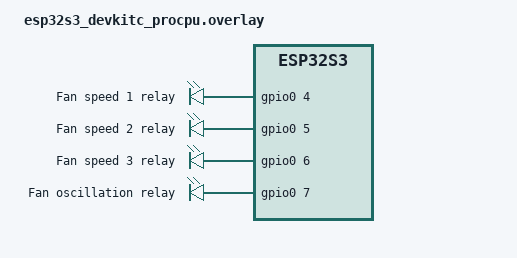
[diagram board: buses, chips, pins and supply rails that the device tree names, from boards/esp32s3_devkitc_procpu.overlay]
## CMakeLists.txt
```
# SPDX-License-Identifier: Apache-2.0

cmake_minimum_required(VERSION 3.20.0)

find_package(Zephyr REQUIRED HINTS $ENV{ZEPHYR_BASE})
project(bt_practice)

target_sources(app PRIVATE src/main.c)
```

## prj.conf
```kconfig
# Bluetooth LE peripheral
CONFIG_BT=y
CONFIG_BT_PERIPHERAL=y
CONFIG_BT_DEVICE_NAME="BT_Practice"

# Console and logs
CONFIG_CONSOLE=y
CONFIG_SERIAL=y
CONFIG_LOG=y

# Active-high relay GPIO outputs
CONFIG_GPIO=y
```

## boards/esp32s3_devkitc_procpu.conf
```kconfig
CONFIG_SPIRAM_MODE_OCT=y
CONFIG_ESPTOOLPY_OCT_FLASH=n
```

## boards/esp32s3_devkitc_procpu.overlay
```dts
#include <zephyr/dt-bindings/gpio/gpio.h>

/ {
	aliases {
		fan-speed-1-relay = &fan_speed_1_relay;
		fan-speed-2-relay = &fan_speed_2_relay;
		fan-speed-3-relay = &fan_speed_3_relay;
		fan-osc-relay = &fan_osc_relay;
	};

	relays {
		compatible = "gpio-leds";

		fan_speed_1_relay: fan_speed_1_relay {
			gpios = <&gpio0 4 GPIO_ACTIVE_HIGH>;
			label = "Fan speed 1 relay";
		};

		fan_speed_2_relay: fan_speed_2_relay {
			gpios = <&gpio0 5 GPIO_ACTIVE_HIGH>;
			label = "Fan speed 2 relay";
		};

		fan_speed_3_relay: fan_speed_3_relay {
			gpios = <&gpio0 6 GPIO_ACTIVE_HIGH>;
			label = "Fan speed 3 relay";
		};

		fan_osc_relay: fan_osc_relay {
			gpios = <&gpio0 7 GPIO_ACTIVE_HIGH>;
			label = "Fan oscillation relay";
		};
	};
};
```

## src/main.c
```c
/*
 * SPDX-License-Identifier: Apache-2.0
 */

#include <errno.h>
#include <stdbool.h>
#include <string.h>

#include <zephyr/bluetooth/bluetooth.h>
#include <zephyr/bluetooth/conn.h>
#include <zephyr/bluetooth/gatt.h>
#include <zephyr/device.h>
#include <zephyr/drivers/gpio.h>
#include <zephyr/kernel.h>
#include <zephyr/logging/log.h>

LOG_MODULE_REGISTER(bt_practice, LOG_LEVEL_INF);

#define SPEED_1_RELAY_NODE DT_ALIAS(fan_speed_1_relay)
#define SPEED_2_RELAY_NODE DT_ALIAS(fan_speed_2_relay)
#define SPEED_3_RELAY_NODE DT_ALIAS(fan_speed_3_relay)
#define OSC_RELAY_NODE     DT_ALIAS(fan_osc_relay)

#define FAN_SPEED_OFF 0U
#define FAN_SPEED_MAX 3U
#define RELAY_BREAK_TIME K_MSEC(100)

#define FAN_COMMAND_SET_SPEED 0x01U
#define FAN_COMMAND_SET_OSC   0x02U
#define FAN_COMMAND_POWER_OFF 0x03U

#define BT_UUID_FAN_SERVICE_VAL \
	BT_UUID_128_ENCODE(0x9f1d1000, 0x3d2f, 0x4f3a, 0x8b11, 0x123456789abc)
#define BT_UUID_FAN_COMMAND_VAL \
	BT_UUID_128_ENCODE(0x9f1d1001, 0x3d2f, 0x4f3a, 0x8b11, 0x123456789abc)
#define BT_UUID_FAN_STATE_VAL \
	BT_UUID_128_ENCODE(0x9f1d1002, 0x3d2f, 0x4f3a, 0x8b11, 0x123456789abc)

#define BT_UUID_FAN_SERVICE BT_UUID_DECLARE_128(BT_UUID_FAN_SERVICE_VAL)
#define BT_UUID_FAN_COMMAND BT_UUID_DECLARE_128(BT_UUID_FAN_COMMAND_VAL)
#define BT_UUID_FAN_STATE   BT_UUID_DECLARE_128(BT_UUID_FAN_STATE_VAL)

static const struct gpio_dt_spec speed_relays[] = {
	GPIO_DT_SPEC_GET(SPEED_1_RELAY_NODE, gpios),
	GPIO_DT_SPEC_GET(SPEED_2_RELAY_NODE, gpios),
	GPIO_DT_SPEC_GET(SPEED_3_RELAY_NODE, gpios),
};
static const struct gpio_dt_spec oscillation_relay =
	GPIO_DT_SPEC_GET(OSC_RELAY_NODE, gpios);

/* State packet: byte 0 = speed (0..3), byte 1 = oscillation (0/1). */
static uint8_t fan_state[2];
static uint8_t requested_speed;
static bool requested_oscillation;
static int64_t speed_enable_at;

K_MUTEX_DEFINE(fan_lock);
static struct k_work_delayable fan_control_work;
static struct k_work advertising_work;

static int notify_fan_state(void);
static int start_advertising(void);

static const struct bt_data advertising_data[] = {
	BT_DATA_BYTES(BT_DATA_FLAGS, BT_LE_AD_GENERAL | BT_LE_AD_NO_BREDR),
	BT_DATA_BYTES(BT_DATA_UUID128_ALL, BT_UUID_FAN_SERVICE_VAL),
};

static const struct bt_data scan_response_data[] = {
	BT_DATA(BT_DATA_NAME_COMPLETE,
		CONFIG_BT_DEVICE_NAME,
		sizeof(CONFIG_BT_DEVICE_NAME) - 1),
};

static int set_all_speed_relays_off(void)
{
	int err;

	for (size_t i = 0; i < ARRAY_SIZE(speed_relays); ++i) {
		err = gpio_pin_set_dt(&speed_relays[i], 0);
		if (err != 0) {
			LOG_ERR("Failed to turn speed relay %u off (err %d)",
				(unsigned int)i + 1U, err);
			return err;
		}
	}

	return 0;
}

static int set_speed_relay_on(uint8_t speed)
{
	int err;

	if ((speed < 1U) || (speed > FAN_SPEED_MAX)) {
		return -EINVAL;
	}

	err = gpio_pin_set_dt(&speed_relays[speed - 1U], 1);
	if (err != 0) {
		LOG_ERR("Failed to turn speed relay %u on (err %d)",
			(unsigned int)speed, err);
		return err;
	}

	return 0;
}

static void fan_control_work_handler(struct k_work *work)
{
	uint8_t target_speed;
	bool target_oscillation;
	bool state_changed = false;
	int64_t now;
	int err;

	ARG_UNUSED(work);

	k_mutex_lock(&fan_lock, K_FOREVER);
	target_speed = requested_speed;
	target_oscillation = requested_oscillation;

	if (fan_state[1] != (uint8_t)target_oscillation) {
		err = gpio_pin_set_dt(&oscillation_relay, target_oscillation ? 1 : 0);
		if (err == 0) {
			fan_state[1] = (uint8_t)target_oscillation;
			state_changed = true;
			LOG_INF("Oscillation %s", target_oscillation ? "ON" : "OFF");
		} else {
			LOG_ERR("Failed to control oscillation relay (err %d)", err);
		}
	}

	/* A request for OFF cancels a speed relay waiting to be enabled. */
	if (target_speed == FAN_SPEED_OFF) {
		speed_enable_at = 0;
		if (fan_state[0] != FAN_SPEED_OFF) {
			err = set_all_speed_relays_off();
			if (err == 0) {
				fan_state[0] = FAN_SPEED_OFF;
				state_changed = true;
				LOG_INF("Fan speed OFF");
			}
		}
		goto done;
	}

	if ((fan_state[0] == target_speed) && (speed_enable_at == 0)) {
		goto done;
	}

	now = k_uptime_get();
	if (speed_enable_at == 0) {
		err = set_all_speed_relays_off();
		if (err != 0) {
			goto done;
		}

		fan_state[0] = FAN_SPEED_OFF;
		speed_enable_at = now + 100;
		(void)k_work_reschedule(&fan_control_work, RELAY_BREAK_TIME);
		LOG_INF("All speed relays OFF; selecting speed %u after 100 ms",
			(unsigned int)target_speed);
		goto done;
	}

	if (now < speed_enable_at) {
		(void)k_work_reschedule(&fan_control_work,
					K_MSEC(speed_enable_at - now));
		goto done;
	}

	/* Use the newest request after the break-before-make interval. */
	target_speed = requested_speed;
	speed_enable_at = 0;
	if (target_speed != FAN_SPEED_OFF) {
		err = set_speed_relay_on(target_speed);
		if (err == 0) {
			fan_state[0] = target_speed;
			state_changed = true;
			LOG_INF("Fan speed %u ON", (unsigned int)target_speed);
		}
	}

done:
	k_mutex_unlock(&fan_lock);

	if (state_changed) {
		err = notify_fan_state();
		if (err != 0) {
			LOG_WRN("Fan state notification failed (err %d)", err);
		}
	}
}

static ssize_t read_fan_state(struct bt_conn *conn,
			      const struct bt_gatt_attr *attr,
			      void *buf, uint16_t len, uint16_t offset)
{
	uint8_t state[sizeof(fan_state)];

	k_mutex_lock(&fan_lock, K_FOREVER);
	memcpy(state, fan_state, sizeof(state));
	k_mutex_unlock(&fan_lock);

	LOG_INF("GATT read: speed %u, oscillation %u",
		(unsigned int)state[0], (unsigned int)state[1]);
	return bt_gatt_attr_read(conn, attr, buf, len, offset,
				 state, sizeof(state));
}

static ssize_t write_fan_command(struct bt_conn *conn,
				 const struct bt_gatt_attr *attr,
				 const void *buf, uint16_t len,
				 uint16_t offset, uint8_t flags)
{
	const uint8_t *command = buf;

	ARG_UNUSED(conn);
	ARG_UNUSED(attr);
	ARG_UNUSED(flags);

	if (offset != 0U) {
		return BT_GATT_ERR(BT_ATT_ERR_INVALID_OFFSET);
	}

	if (len != 2U) {
		return BT_GATT_ERR(BT_ATT_ERR_INVALID_ATTRIBUTE_LEN);
	}

	k_mutex_lock(&fan_lock, K_FOREVER);
	if (command[0] == FAN_COMMAND_SET_SPEED) {
		if (command[1] > FAN_SPEED_MAX) {
			k_mutex_unlock(&fan_lock);
			return BT_GATT_ERR(BT_ATT_ERR_VALUE_NOT_ALLOWED);
		}
		requested_speed = command[1];
	} else if (command[0] == FAN_COMMAND_SET_OSC) {
		if (command[1] > 1U) {
			k_mutex_unlock(&fan_lock);
			return BT_GATT_ERR(BT_ATT_ERR_VALUE_NOT_ALLOWED);
		}
		requested_oscillation = command[1] != 0U;
	} else if (command[0] == FAN_COMMAND_POWER_OFF) {
		if (command[1] != 0U) {
			k_mutex_unlock(&fan_lock);
			return BT_GATT_ERR(BT_ATT_ERR_VALUE_NOT_ALLOWED);
		}
		requested_speed = FAN_SPEED_OFF;
		requested_oscillation = false;
	} else {
		k_mutex_unlock(&fan_lock);
		return BT_GATT_ERR(BT_ATT_ERR_VALUE_NOT_ALLOWED);
	}
	k_mutex_unlock(&fan_lock);

	LOG_INF("GATT command: 0x%02x, value %u",
		(unsigned int)command[0], (unsigned int)command[1]);
	(void)k_work_reschedule(&fan_control_work, K_NO_WAIT);
	return len;
}

static void fan_state_ccc_changed(const struct bt_gatt_attr *attr, uint16_t value)
{
	ARG_UNUSED(attr);

	LOG_INF("Fan state notifications %s",
		value == BT_GATT_CCC_NOTIFY ? "enabled" : "disabled");
}

BT_GATT_SERVICE_DEFINE(fan_service,
	BT_GATT_PRIMARY_SERVICE(BT_UUID_FAN_SERVICE),
	BT_GATT_CHARACTERISTIC(BT_UUID_FAN_COMMAND,
			       BT_GATT_CHRC_WRITE,
			       BT_GATT_PERM_WRITE,
			       NULL, write_fan_command, NULL),
	BT_GATT_CHARACTERISTIC(BT_UUID_FAN_STATE,
			       BT_GATT_CHRC_READ | BT_GATT_CHRC_NOTIFY,
			       BT_GATT_PERM_READ,
			       read_fan_state, NULL, NULL),
	BT_GATT_CCC(fan_state_ccc_changed,
		    BT_GATT_PERM_READ | BT_GATT_PERM_WRITE),
);

static int notify_fan_state(void)
{
	const struct bt_gatt_attr *value_attr = &fan_service.attrs[4];
	uint8_t state[sizeof(fan_state)];

	k_mutex_lock(&fan_lock, K_FOREVER);
	memcpy(state, fan_state, sizeof(state));
	k_mutex_unlock(&fan_lock);

	return bt_gatt_notify(NULL, value_attr, state, sizeof(state));
}

static void connected(struct bt_conn *conn, uint8_t err)
{
	char address[BT_ADDR_LE_STR_LEN];

	bt_addr_le_to_str(bt_conn_get_dst(conn), address, sizeof(address));

	if (err != 0U) {
		LOG_ERR("Connection to %s failed (err 0x%02x)", address, err);
		return;
	}

	LOG_INF("Connected: %s", address);
}

static void disconnected(struct bt_conn *conn, uint8_t reason)
{
	char address[BT_ADDR_LE_STR_LEN];
	int err;

	bt_addr_le_to_str(bt_conn_get_dst(conn), address, sizeof(address));
	LOG_INF("Disconnected: %s (reason 0x%02x)", address, reason);

	err = k_work_submit(&advertising_work);
	if (err < 0) {
		LOG_ERR("Failed to schedule advertising restart (err %d)", err);
	}
}

BT_CONN_CB_DEFINE(connection_callbacks) = {
	.connected = connected,
	.disconnected = disconnected,
};

static int start_advertising(void)
{
	int err;

	err = bt_le_adv_start(BT_LE_ADV_CONN_FAST_1,
			      advertising_data, ARRAY_SIZE(advertising_data),
			      scan_response_data, ARRAY_SIZE(scan_response_data));
	if (err != 0) {
		LOG_ERR("Advertising failed to start (err %d)", err);
		return err;
	}

	LOG_INF("Advertising as '%s'", CONFIG_BT_DEVICE_NAME);
	return 0;
}

static void advertising_work_handler(struct k_work *work)
{
	ARG_UNUSED(work);

	LOG_INF("Restarting advertising");
	(void)start_advertising();
}

static int initialize_relays(void)
{
	int err;

	for (size_t i = 0; i < ARRAY_SIZE(speed_relays); ++i) {
		if (!gpio_is_ready_dt(&speed_relays[i])) {
			LOG_ERR("Speed relay %u GPIO is not ready", (unsigned int)i + 1U);
			return -ENODEV;
		}

		err = gpio_pin_configure_dt(&speed_relays[i], GPIO_OUTPUT_INACTIVE);
		if (err != 0) {
			LOG_ERR("Failed to initialize speed relay %u (err %d)",
				(unsigned int)i + 1U, err);
			return err;
		}
	}

	if (!gpio_is_ready_dt(&oscillation_relay)) {
		LOG_ERR("Oscillation relay GPIO is not ready");
		return -ENODEV;
	}

	err = gpio_pin_configure_dt(&oscillation_relay, GPIO_OUTPUT_INACTIVE);
	if (err != 0) {
		LOG_ERR("Failed to initialize oscillation relay (err %d)", err);
		return err;
	}

	LOG_INF("All active-high relays initialized OFF");
	return 0;
}

int main(void)
{
	int err;

	LOG_INF("Bluetooth fan controller start");

	k_work_init_delayable(&fan_control_work, fan_control_work_handler);
	k_work_init(&advertising_work, advertising_work_handler);

	err = initialize_relays();
	if (err != 0) {
		return err;
	}

	err = bt_enable(NULL);
	if (err != 0) {
		LOG_ERR("Bluetooth initialization failed (err %d)", err);
		return err;
	}

	LOG_INF("Bluetooth initialized");

	err = start_advertising();
	if (err != 0) {
		return err;
	}

	return 0;
}
```
